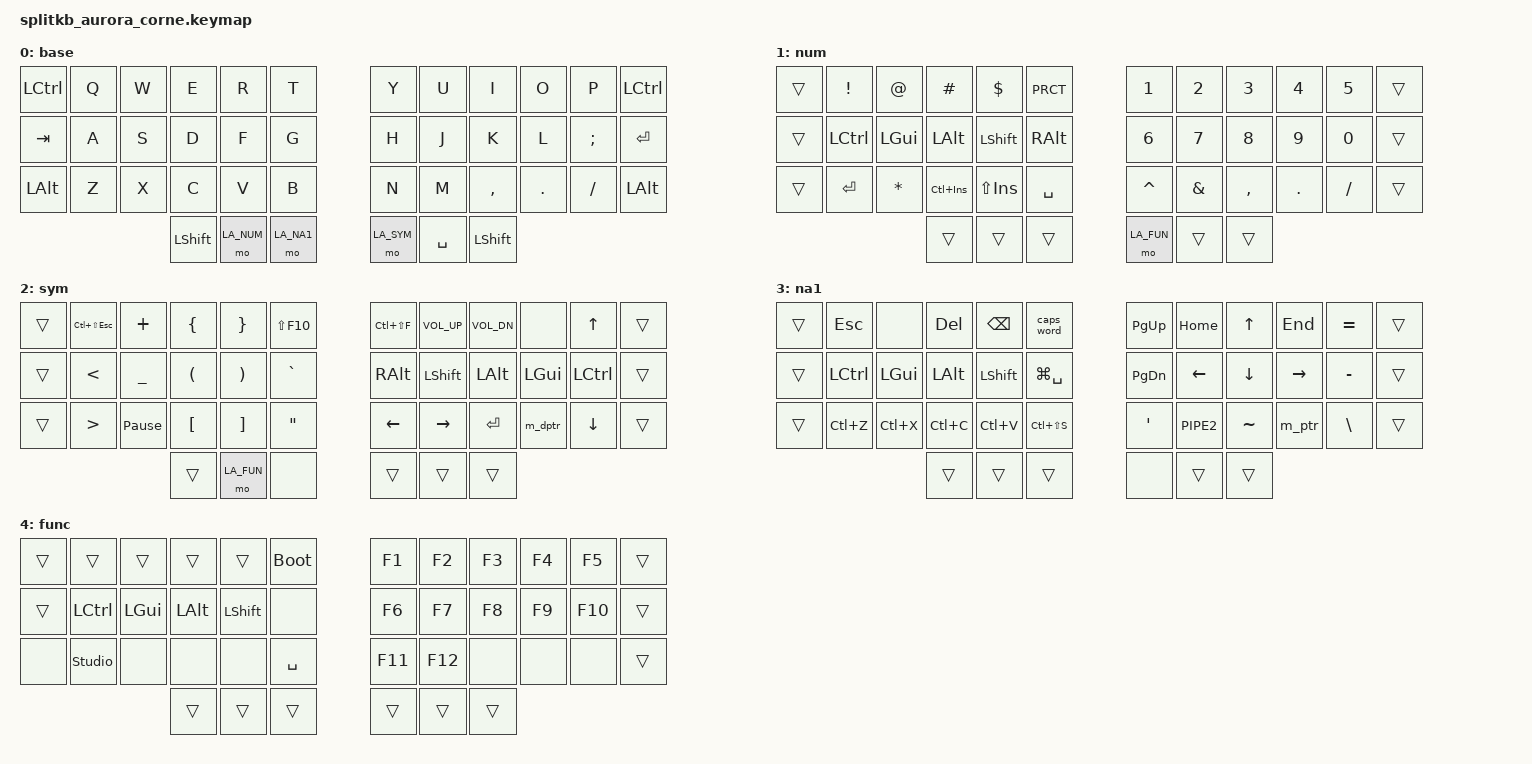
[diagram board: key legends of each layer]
/*
 * Copyright (c) 2020 The ZMK Contributors
 *
 * SPDX-License-Identifier: MIT
 */

#include <behaviors.dtsi>
#include <dt-bindings/zmk/keys.h>
#include <dt-bindings/zmk/bt.h>

#define LA_DEF 0
#define LA_NUM 1
#define LA_SYM 2
#define LA_NA1 3
#define LA_FUN 4

/ {
    macros {
	    m_ptr: m_ptr {
	        label = "->";
	        compatible = "zmk,behavior-macro";
	        #binding-cells = <0>;
	        wait-ms = <0>;
            tap-ms = <0>;
	        bindings = <&macro_tap &kp MINUS &kp GT>;
	    };

	    m_dptr: m_dptr {
	        label = "=>";
	        compatible = "zmk,behavior-macro";
	        #binding-cells = <0>;
	        wait-ms = <0>;
            tap-ms = <0>;
	        bindings = <&macro_tap &kp EQUAL &kp GT>;
	    };
	};

    keymap {
        compatible = "zmk,keymap";

       	default_layer {
			label = "base";
            bindings = <
                               &kp LCTRL &kp Q &kp W &kp E &kp R &kp T   &kp Y &kp U  &kp I &kp O &kp P &kp LCTRL
                                 &kp TAB &kp A &kp S &kp D &kp F &kp G   &kp H &kp J &kp K &kp L &kp SEMI &kp ENTER
                                &kp LALT &kp Z &kp X &kp C &kp V &kp B   &kp N &kp M  &kp CMMA &kp DOT &kp SLASH &kp LALT
                                       &kp LSHFT &mo LA_NUM &mo LA_NA1   &mo LA_SYM &kp SPC &kp LSHFT
            >;
        };

       numerical_layer {
			label = "num";
            bindings = <
                     &trans &kp EXCL &kp AT &kp HASH &kp DLLR &kp PRCT   &kp N1 &kp N2 &kp N3 &kp N4 &kp N5 &trans
                 &trans &kp LCTRL &kp LGUI &kp LALT &kp LSHFT &kp RALT   &kp N6 &kp N7 &kp N8 &kp N9 &kp N0 &trans
             &trans &kp ENTER &kp STAR &kp LC(INS) &kp LS(INS) &kp SPC   &kp CARET &kp AMPS &kp CMMA &kp DOT &kp SLASH &trans
                                                  &trans &trans &trans   &mo LA_FUN &trans &trans
            >;
        };

        symbols_layer {
			label = "sym";
            bindings = <
         &trans &kp LC(LS(ESC)) &kp PLUS &kp LBRC &kp RBRC &kp LS(F10)   &kp LC(LS(F)) &kp C_VOL_UP  &kp C_VOL_DN &none &kp UP &trans
                   &trans &kp LT &kp UNDER &kp LPAR &kp RPAR &kp GRAVE   &kp RALT &kp LSHFT &kp LALT &kp LGUI &kp LCTRL &trans
               &trans &kp GT &kp PAUSE_BREAK &kp LBKT &kp RBKT &kp DQT   &kp LEFT &kp RIGHT &kp ENTER &m_dptr &kp DOWN &trans
                                               &trans &mo LA_FUN &none   &trans &trans &trans
            >;
        };

        navigation_layer_1 {
			label = "na1";
            bindings = <
                      &trans &kp ESC &none &kp DEL &kp BSPC &caps_word   &kp PG_UP &kp HOME &kp UP &kp END &kp EQUAL &trans
              &trans &kp LCTRL &kp LGUI &kp LALT &kp LSHFT &kp LG(SPC)   &kp PG_DN &kp LEFT &kp DOWN &kp RIGHT &kp MINUS &trans
          &trans &kp LC(Z) &kp LC(X) &kp LC(C) &kp LC(V) &kp LC(LS(S))   &kp SQT &kp PIPE2  &kp TILDE &m_ptr &kp BSLH &trans
                                                  &trans &trans &trans   &none &trans &trans
            >;
        };

        functional_layer {
			label = "func";
            bindings = <
                         &trans &trans &trans &trans &trans &bootloader   &kp F1 &kp F2 &kp F3 &kp F4 &kp F5 &trans
                     &trans &kp LCTRL &kp LGUI &kp LALT &kp LSHFT &none   &kp F6 &kp F7 &kp F8 &kp F9 &kp F10 &trans
                         &none &studio_unlock &none &none &none &kp SPC   &kp F11 &kp F12 &none &none &none &trans
                                                   &trans &trans &trans   &trans &trans &trans
            >;
        };
    };
};
